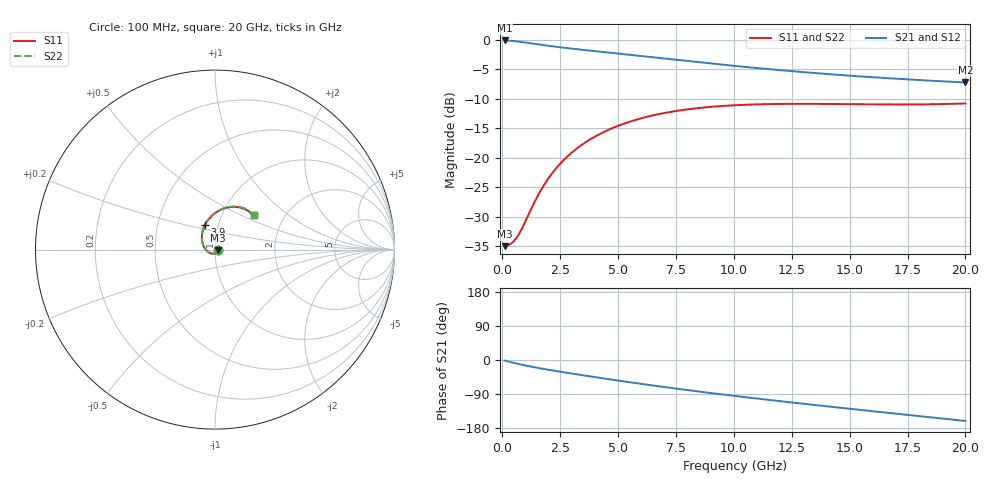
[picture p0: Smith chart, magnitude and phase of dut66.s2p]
! Touchstone file exported from HFSS 2023.1.0
!  File:  D:/Users/fzz/RDL_TSV/temp_RDL_TSV_66_1778746447.aedt
!  Generated:  4:23:12 %x4E0B%x5348  5%x6708 14, 2026
!  Design:  RDL_TSV
!  Project:  temp_RDL_TSV_66_1778746447
!  Setup:  Setup1
!  Solution:  Sweep
! Variables:
!  dtsv = 18.78um
!  hbump = 3um
!  htsv = 56.84um
!  ldown = 122.97um
!  lrdl = 396.95um
!  p = 40
!  p1 = 48.26um
!  rhole = 10um
!  subl = 1956.71um
!  t = 450um
!  tdown = 3.33um
!  trdl = 2.1um
!  viad = 10um
!  wdown = 10.71um
!  wrdl = 19.05um
!  xbump = 18um
# GHz S MA R 50.000000
! Terminal data exported
! Port[1] = TM1_1_T1
! Port[2] = TM1_4_T1
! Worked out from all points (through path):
!   200 points, 100 MHz to 20 GHz, reference 50 ohm
!   highest |S21| = -0.16 dB at 100 MHz (marker M1); lowest = -7.3 dB at 20 GHz (marker M2)
!   group delay of S21, straight-line fit = 21.2 ps
!   lowest |S11| = -35.0 dB at 100 MHz (marker M3), VSWR 1.04, Z = 51.8 - j0.419 ohm
!   |S11| at or under -10 dB: start of sweep to end of sweep
!   |S22| runs from -35.0 to -10.7 dB; largest |S21 - S12| = 1e-14
!   S11 on the Smith chart (normalised r, x): 100 MHz: 1.04, -0.01; 3.9 GHz: 0.86, +0.24; 20 GHz: 1.41, +0.58
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0.1  0.0178 -13.1  0.9816 -1.6  0.9816 -1.6  0.0178 -13.1
! Gamma 0 0 0 0
! Port Impedance 50 0 50 0
0.4  0.01887 -54.4  0.9737 -6.2  0.9737 -6.2  0.01885 -54.4
0.7  0.0222 -96.2  0.9595 -10.5  0.9595 -10.5  0.02219 -96.3
1.1  0.03194 -141.5  0.9362 -15.7  0.9362 -15.7  0.03198 -141.6
1.6  0.05026 -178.2  0.9062 -21.6  0.9062 -21.6  0.05041 -178.3
1.9  0.0628 166.6  0.8894 -24.8  0.8894 -24.8  0.06303 166.5
2.2  0.07577 154.5  0.8737 -27.9  0.8737 -27.9  0.07608 154.4
2.8  0.1018 135.9  0.8456 -33.8  0.8456 -33.8  0.1023 135.9
3.5  0.131 120.1  0.8164 -40.5  0.8164 -40.5  0.1317 120.1
3.9  0.1468 112.8  0.8007 -44.2  0.8007 -44.2  0.1476 112.8
4.5  0.169 103.4  0.7781 -49.7  0.7781 -49.7  0.17 103.4
5.2  0.1923 94.1  0.7524 -56.0  0.7524 -56.0  0.1935 94.2
6  0.2153 85.2  0.7239 -63.0  0.7239 -63.0  0.2167 85.2
6.8  0.2344 77.6  0.6963 -69.7  0.6963 -69.7  0.2361 77.6
8.3  0.2606 66.0  0.6476 -81.8  0.6476 -81.8  0.2626 66.1
10.1  0.2781 55.7  0.5959 -95.3  0.5959 -95.3  0.2804 55.8
11.7  0.2844 49.1  0.5567 -106.6  0.5567 -106.6  0.2869 49.2
13.4  0.2852 44.4  0.5217 -118.2  0.5217 -118.2  0.288 44.5
15  0.2835 41.8  0.4942 -128.7  0.4942 -128.7  0.2864 41.8
16.7  0.2819 40.7  0.4698 -139.7  0.4698 -139.7  0.2848 40.6
18.3  0.2826 40.8  0.4504 -150.0  0.4504 -150.0  0.2855 40.7
20  0.2874 41.6  0.4326 -160.8  0.4326 -160.8  0.2902 41.4
